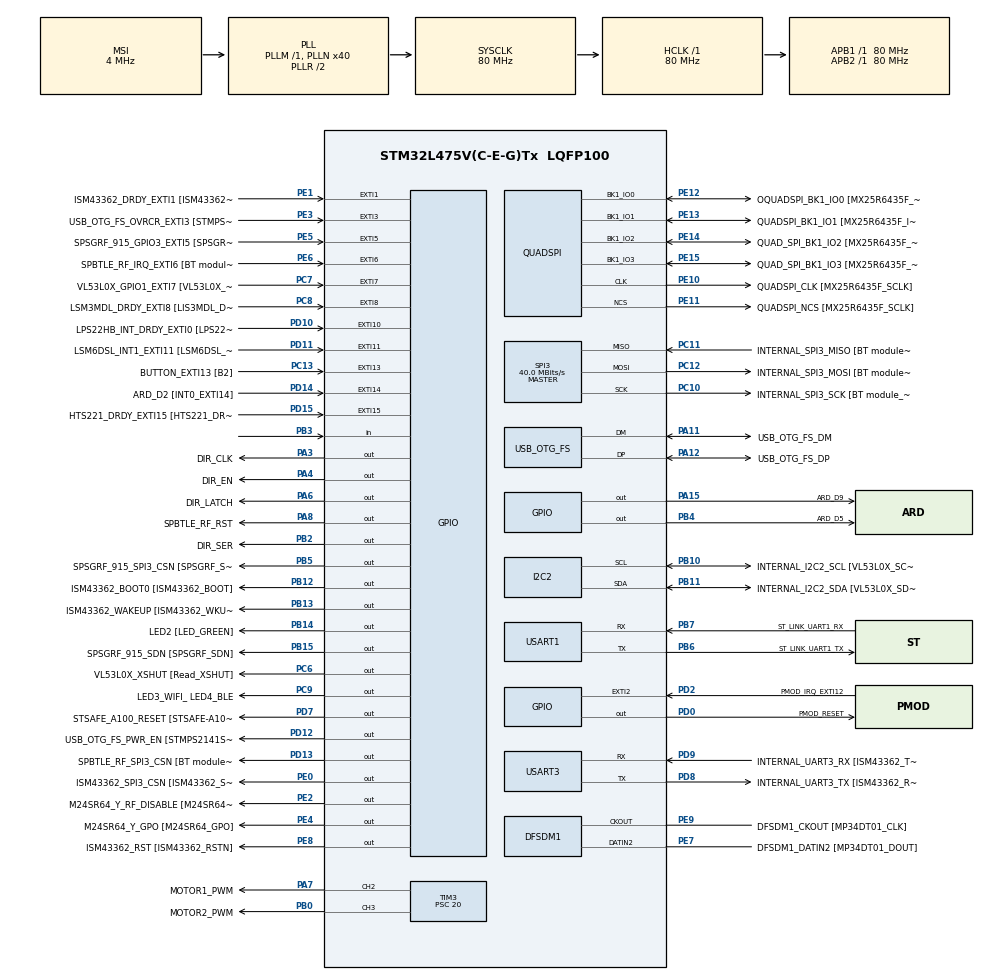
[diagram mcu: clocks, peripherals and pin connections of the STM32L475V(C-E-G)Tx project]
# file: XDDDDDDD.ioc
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FREERTOS.Tasks01=defaultTask,0,128,StartDefaultTask,Default,NULL
Mcu.Family=STM32L4
Mcu.Name=STM32L475V(C-E-G)Tx
Mcu.Package=LQFP100
NVIC.EXTI15_10_IRQn=true\:5\:0\:false\:false\:true\:true\:true
NVIC.EXTI9_5_IRQn=true\:5\:0\:false\:false\:true\:true\:true
NVIC.PriorityGroup=NVIC_PRIORITYGROUP_4
NVIC.TIM1_TRG_COM_TIM17_IRQn=true\:0\:0\:false\:false\:true\:false\:false
NVIC.TimeBase=TIM1_TRG_COM_TIM17_IRQn
NVIC.TimeBaseIP=TIM17
PA0.GPIO_Label=ARD_D1 [UART4_TX]
PA0.Signal=UART4_TX
PA1.GPIO_Label=ARD_D0 [UART4_RX]
PA1.Signal=UART4_RX
PA10.GPIO_Label=USB_OTG_FS_ID
PA10.Signal=USB_OTG_FS_ID
PA11.GPIO_Label=USB_OTG_FS_DM
PA11.Mode=Device_Only
PA11.Signal=USB_OTG_FS_DM
PA12.GPIO_Label=USB_OTG_FS_DP
PA12.Mode=Device_Only
PA12.Signal=USB_OTG_FS_DP
PA13\ (JTMS-SWDIO).GPIO_Label=SYS_JTMS_SWDIO
PA13\ (JTMS-SWDIO).Mode=Serial_Wire
PA13\ (JTMS-SWDIO).Signal=SYS_JTMS-SWDIO
PA14\ (JTCK-SWCLK).GPIO_Label=SYS_JTCK_SWCLK
PA14\ (JTCK-SWCLK).Mode=Serial_Wire
PA14\ (JTCK-SWCLK).Signal=SYS_JTCK-SWCLK
PA15\ (JTDI).GPIO_Label=ARD_D9
PA15\ (JTDI).Signal=GPIO_Output
PA2.Signal=S_TIM2_CH3
PA3.GPIO_Label=DIR_CLK
PA3.Signal=GPIO_Output
PA4.GPIO_Label=DIR_EN
PA4.Signal=GPIO_Output
PA6.GPIO_Label=DIR_LATCH
PA6.Signal=GPIO_Output
PA7.GPIO_Label=MOTOR1_PWM
PA7.Signal=S_TIM3_CH2
PA8.GPIO_Label=SPBTLE_RF_RST
PA8.Signal=GPIO_Output
PA9.GPIO_Label=USB_OTG_FS_VBUS [STMPS2141STR_OUT]
PA9.Signal=USB_OTG_FS_VBUS
PB0.GPIO_Label=MOTOR2_PWM
PB0.Signal=S_TIM3_CH3
PB1.GPIO_Label=ARD_D6 [ADC1_IN6]
PB1.Signal=ADCx_IN16
PB10.GPIO_Label=INTERNAL_I2C2_SCL [VL53L0X_SCL]
PB10.Mode=I2C
PB10.Signal=I2C2_SCL
PB11.GPIO_Label=INTERNAL_I2C2_SDA [VL53L0X_SDA]
PB11.Mode=I2C
PB11.Signal=I2C2_SDA
PB12.GPIO_Label=ISM43362_BOOT0 [ISM43362_BOOT]
PB12.Signal=GPIO_Output
PB13.GPIO_Label=ISM43362_WAKEUP [ISM43362_WKUP]
PB13.Signal=GPIO_Output
PB14.GPIO_Label=LED2 [LED_GREEN]
PB14.Signal=GPIO_Output
PB15.GPIO_Label=SPSGRF_915_SDN [SPSGRF_SDN]
PB15.Signal=GPIO_Output
PB2.GPIO_Label=DIR_SER
PB2.Signal=GPIO_Output
PB3\ (JTDO-TRACESWO).Signal=GPIO_Input
PB4\ (NJTRST).GPIO_Label=ARD_D5
PB4\ (NJTRST).Signal=GPIO_Output
PB5.GPIO_Label=SPSGRF_915_SPI3_CSN [SPSGRF_SPI_CS]
PB5.Signal=GPIO_Output
PB6.GPIO_Label=ST_LINK_UART1_TX
PB6.Mode=Asynchronous
PB6.Signal=USART1_TX
PB7.GPIO_Label=ST_LINK_UART1_RX
PB7.Mode=Asynchronous
PB7.Signal=USART1_RX
PB8.GPIO_Label=ARD_D15 [I2C1_SCL]
PB8.Signal=I2C1_SCL
PB9.GPIO_Label=ARD_D14 [I2C1_SDA]
PB9.Signal=I2C1_SDA
PC0.GPIO_Label=ARD_A5 [ADC]
PC0.Signal=ADCx_IN1
PC1.GPIO_Label=ARD_A4 [ADC]
PC1.Signal=ADCx_IN2
PC10.GPIO_Label=INTERNAL_SPI3_SCK [BT module_SPI_SCLK]
PC10.Mode=Full_Duplex_Master
PC10.Signal=SPI3_SCK
PC11.GPIO_Label=INTERNAL_SPI3_MISO [BT module_SPI_MISO]
PC11.Mode=Full_Duplex_Master
PC11.Signal=SPI3_MISO
PC12.GPIO_Label=INTERNAL_SPI3_MOSI [BT module_SPI_MOSI]
PC12.Mode=Full_Duplex_Master
PC12.Signal=SPI3_MOSI
PC13.GPIO_Label=BUTTON_EXTI13 [B2]
PC13.GPIO_ModeDefaultEXTI=GPIO_MODE_IT_FALLING
PC13.Signal=GPXTI13
PC14-OSC32_IN\ (PC14).Mode=LSE-External-Oscillator
PC14-OSC32_IN\ (PC14).Signal=RCC_OSC32_IN
PC15-OSC32_OUT\ (PC15).Mode=LSE-External-Oscillator
PC15-OSC32_OUT\ (PC15).Signal=RCC_OSC32_OUT
PC2.GPIO_Label=ARD_A3 [ADC]
PC2.Signal=ADCx_IN3
PC3.GPIO_Label=ARD_A2 [ADC]
PC3.Signal=ADCx_IN4
PC4.GPIO_Label=ARD_A1 [ADC]
PC4.Signal=ADCx_IN13
PC5.GPIO_Label=ARD_A0 [ADC]
PC5.Signal=ADCx_IN14
PC6.GPIO_Label=VL53L0X_XSHUT [Read_XSHUT]
PC6.Signal=GPIO_Output
PC7.GPIO_Label=VL53L0X_GPIO1_EXTI7 [VL53L0X_GPIO1]
PC7.Signal=GPXTI7
PC8.GPIO_Label=LSM3MDL_DRDY_EXTI8 [LIS3MDL_DRDY]
PC8.Signal=GPXTI8
PC9.GPIO_Label=LED3_WIFI_ LED4_BLE
PC9.Signal=GPIO_Output
PD0.GPIO_Label=PMOD_RESET
PD0.Signal=GPIO_Output
PD1.GPIO_Label=PMOD_SPI2_SCK
PD1.Signal=SPI2_SCK
PD10.GPIO_Label=LPS22HB_INT_DRDY_EXTI0 [LPS22HB_INT_DRDY] 
PD10.Signal=GPXTI10
PD11.GPIO_Label=LSM6DSL_INT1_EXTI11 [LSM6DSL_INT1]
PD11.Signal=GPXTI11
PD12.GPIO_Label=USB_OTG_FS_PWR_EN [STMPS2141STR_EN]
PD12.Signal=GPIO_Output
PD13.GPIO_Label=SPBTLE_RF_SPI3_CSN [BT module_SPI_CS]
PD13.Signal=GPIO_Output
PD14.GPIO_Label=ARD_D2 [INT0_EXTI14]
PD14.Signal=GPXTI14
PD15.GPIO_Label=HTS221_DRDY_EXTI15 [HTS221_DRDY]
PD15.Signal=GPXTI15
PD2.GPIO_Label=PMOD_IRQ_EXTI12
PD2.Signal=GPXTI2
PD3.GPIO_Label=PMOD_UART2_CTS
PD3.Signal=USART2_CTS
PD4.GPIO_Label=PMOD_UART2_RTS
PD4.Signal=USART2_RTS
PD5.GPIO_Label=PMOD_UART2_TX
PD5.Signal=USART2_TX
PD6.GPIO_Label=PMOD_UART2_RX
PD6.Signal=USART2_RX
PD7.GPIO_Label=STSAFE_A100_RESET [STSAFE-A100_RESET]
PD7.Signal=GPIO_Output
PD8.GPIO_Label=INTERNAL_UART3_TX [ISM43362_RX]
PD8.Mode=Asynchronous
PD8.Signal=USART3_TX
PD9.GPIO_Label=INTERNAL_UART3_RX [ISM43362_TX]
PD9.Mode=Asynchronous
PD9.Signal=USART3_RX
PE0.GPIO_Label=ISM43362_SPI3_CSN [ISM43362_SSN]
PE0.Signal=GPIO_Output
PE1.GPIO_Label=ISM43362_DRDY_EXTI1 [ISM43362_DATARDY]
PE1.Signal=GPXTI1
PE10.GPIO_Label=QUADSPI_CLK [MX25R6435F_SCLK]
PE10.Mode=Single Bank
PE10.Signal=QUADSPI_CLK
PE11.GPIO_Label=QUADSPI_NCS [MX25R6435F_SCLK]
PE11.Mode=Single Bank
PE11.Signal=QUADSPI_NCS
PE12.GPIO_Label=OQUADSPI_BK1_IO0 [MX25R6435F_IO0]
PE12.Mode=Single Bank
PE12.Signal=QUADSPI_BK1_IO0
PE13.GPIO_Label=QUADSPI_BK1_IO1 [MX25R6435F_IO1]
PE13.Mode=Single Bank
PE13.Signal=QUADSPI_BK1_IO1
PE14.GPIO_Label=QUAD_SPI_BK1_IO2 [MX25R6435F_IO2]
PE14.Mode=Single Bank
PE14.Signal=QUADSPI_BK1_IO2
PE15.GPIO_Label=QUAD_SPI_BK1_IO3 [MX25R6435F_IO3]
PE15.Mode=Single Bank
PE15.Signal=QUADSPI_BK1_IO3
PE2.GPIO_Label=M24SR64_Y_RF_DISABLE [M24SR64_RFDIS]
PE2.Signal=GPIO_Output
PE3.GPIO_Label=USB_OTG_FS_OVRCR_EXTI3 [STMPS2141STR_FAULT]
PE3.Signal=GPXTI3
PE4.GPIO_Label=M24SR64_Y_GPO [M24SR64_GPO]
PE4.Signal=GPIO_Output
PE5.GPIO_Label=SPSGRF_915_GPIO3_EXTI5 [SPSGRF_GPIO_3]
PE5.Signal=GPXTI5
PE6.GPIO_Label=SPBTLE_RF_IRQ_EXTI6 [BT module_SPI_IRQ]
PE6.Signal=GPXTI6
PE7.GPIO_Label=DFSDM1_DATIN2 [MP34DT01_DOUT]
PE7.Signal=S_DATAIN2DFSDM1
PE8.GPIO_Label=ISM43362_RST [ISM43362_RSTN]
PE8.Signal=GPIO_Output
PE9.GPIO_Label=DFSDM1_CKOUT [MP34DT01_CLK]
PE9.Signal=S_CKOUTDFSDM1
ProjectManager.HeapSize=0x200
ProjectManager.StackSize=0x400
ProjectManager.TargetToolchain=TrueSTUDIO
RCC.ADCFreq_Value=48000000
RCC.AHBFreq_Value=80000000
RCC.APB1Freq_Value=80000000
RCC.APB1TimFreq_Value=80000000
RCC.APB2Freq_Value=80000000
RCC.APB2TimFreq_Value=80000000
RCC.CortexFreq_Value=80000000
RCC.HCLKFreq_Value=80000000
RCC.HSE_VALUE=8000000
RCC.HSI_VALUE=16000000
RCC.MSI_VALUE=4000000
RCC.PLLN=40
RCC.PLLSAI1N=24
RCC.SYSCLKFreq_VALUE=80000000
RCC.SYSCLKSource=RCC_SYSCLKSOURCE_PLLCLK
RCC.USBFreq_Value=48000000
RCC.VCOOutputFreq_Value=160000000
SH.ADCx_IN1.0=ADC1_IN1
SH.ADCx_IN13.0=ADC1_IN13
SH.ADCx_IN14.0=ADC1_IN14
SH.ADCx_IN16.0=ADC1_IN16
SH.ADCx_IN2.0=ADC1_IN2
SH.ADCx_IN3.0=ADC1_IN3
SH.ADCx_IN4.0=ADC1_IN4
SH.S_CKOUTDFSDM1.0=DFSDM1_CKOUT,CKOUT
SH.S_CKOUTDFSDM1.1=DFSDM1_CKOUT,PDM_SPI_Input_from_ch12_and_Internal_Clock
SH.S_DATAIN2DFSDM1.0=DFSDM1_DATIN2,PDM_SPI_Input_from_ch12_and_Internal_Clock
SH.S_TIM2_CH3.0=TIM2_CH3
SH.S_TIM3_CH2.0=TIM3_CH2,PWM Generation2 CH2
SH.S_TIM3_CH3.0=TIM3_CH3,PWM Generation3 CH3
SPI3.CalculateBaudRate=40.0 MBits/s
SPI3.Direction=SPI_DIRECTION_2LINES
SPI3.Mode=SPI_MODE_MASTER
SPI3.VirtualType=VM_MASTER
TIM3.Channel-PWM\ Generation2\ CH2=TIM_CHANNEL_2
TIM3.Channel-PWM\ Generation3\ CH3=TIM_CHANNEL_3
TIM3.OCMode_PWM-PWM\ Generation3\ CH3=TIM_OCMODE_PWM2
TIM3.Period=0x100
TIM3.Prescaler=20
TIM3.Pulse-PWM\ Generation2\ CH2=0x20
TIM3.Pulse-PWM\ Generation3\ CH3=0x20
USART1.VirtualMode-Asynchronous=VM_ASYNC
USART3.VirtualMode-Asynchronous=VM_ASYNC
USB_OTG_FS.VirtualMode=Device_Only
VP_FREERTOS_VS_ENABLE.Mode=Enabled
VP_SYS_VS_tim17.Mode=TIM17
board=B-L475E-IOT01A

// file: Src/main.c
/**
  ******************************************************************************
  * @file           : main.c
  * @brief          : Main program body
  ******************************************************************************
  * This notice applies to any and all portions of this file
  * that are not between comment pairs USER CODE BEGIN and
  * USER CODE END. Other portions of this file, whether
  * inserted by the user or by software development tools
  * are owned by their respective copyright owners.
  *
  * Copyright (c) 2018 STMicroelectronics International N.V.
  * All rights reserved.
  *
  * Redistribution and use in source and binary forms, with or without
  * modification, are permitted, provided that the following conditions are met:
  *
  * 1. Redistribution of source code must retain the above copyright notice,
  *    this list of conditions and the following disclaimer.
  * 2. Redistributions in binary form must reproduce the above copyright notice,
  *    this list of conditions and the following disclaimer in the documentation
  *    and/or other materials provided with the distribution.
  * 3. Neither the name of STMicroelectronics nor the names of other
  *    contributors to this software may be used to endorse or promote products
  *    derived from this software without specific written permission.
  * 4. This software, including modifications and/or derivative works of this
  *    software, must execute solely and exclusively on microcontroller or
  *    microprocessor devices manufactured by or for STMicroelectronics.
  * 5. Redistribution and use of this software other than as permitted under
  *    this license is void and will automatically terminate your rights under
  *    this license.
  *
  * THIS SOFTWARE IS PROVIDED BY STMICROELECTRONICS AND CONTRIBUTORS "AS IS"
  * AND ANY EXPRESS, IMPLIED OR STATUTORY WARRANTIES, INCLUDING, BUT NOT
  * LIMITED TO, THE IMPLIED WARRANTIES OF MERCHANTABILITY, FITNESS FOR A
  * PARTICULAR PURPOSE AND NON-INFRINGEMENT OF THIRD PARTY INTELLECTUAL PROPERTY
  * RIGHTS ARE DISCLAIMED TO THE FULLEST EXTENT PERMITTED BY LAW. IN NO EVENT
  * SHALL STMICROELECTRONICS OR CONTRIBUTORS BE LIABLE FOR ANY DIRECT, INDIRECT,
  * INCIDENTAL, SPECIAL, EXEMPLARY, OR CONSEQUENTIAL DAMAGES (INCLUDING, BUT NOT
  * LIMITED TO, PROCUREMENT OF SUBSTITUTE GOODS OR SERVICES; LOSS OF USE, DATA,
  * OR PROFITS; OR BUSINESS INTERRUPTION) HOWEVER CAUSED AND ON ANY THEORY OF
  * LIABILITY, WHETHER IN CONTRACT, STRICT LIABILITY, OR TORT (INCLUDING
  * NEGLIGENCE OR OTHERWISE) ARISING IN ANY WAY OUT OF THE USE OF THIS SOFTWARE,
  * EVEN IF ADVISED OF THE POSSIBILITY OF SUCH DAMAGE.
  *
  ******************************************************************************
  */
#include "main.h"
#include "stm32l4xx_hal.h"
#include "cmsis_os.h"

/* USER CODE BEGIN Includes */
#include "stm32l4xx_hal_gpio.h"
#include "wifi.h"
/* USER CODE END Includes */

DFSDM_Channel_HandleTypeDef hdfsdm1_channel1;

I2C_HandleTypeDef hi2c2;

QSPI_HandleTypeDef hqspi;

SPI_HandleTypeDef hspi3;

TIM_HandleTypeDef htim3;

UART_HandleTypeDef huart1;
UART_HandleTypeDef huart3;

PCD_HandleTypeDef hpcd_USB_OTG_FS;

osThreadId defaultTaskHandle;

/* USER CODE BEGIN PV */
/* Private variables ---------------------------------------------------------*/
int motor1_speed = 0x00;
int motor2_speed = 0x00;
/* USER CODE END PV */

void SystemClock_Config(void);
static void MX_GPIO_Init(void);
static void MX_DFSDM1_Init(void);
static void MX_I2C2_Init(void);
static void MX_QUADSPI_Init(void);
static void MX_SPI3_Init(void);
static void MX_USART1_UART_Init(void);
static void MX_USART3_UART_Init(void);
static void MX_USB_OTG_FS_PCD_Init(void);
static void MX_TIM3_Init(void);
void StartDefaultTask(void const * argument);

void HAL_TIM_MspPostInit(TIM_HandleTypeDef *htim);

/* USER CODE BEGIN PFP */
/* Private function prototypes -----------------------------------------------*/

/* USER CODE END PFP */

int main(void)
{

  /* MCU Configuration----------------------------------------------------------*/

  /* Reset of all peripherals, Initializes the Flash interface and the Systick. */
  HAL_Init();

  /* Configure the system clock */
  SystemClock_Config();

  /* Initialize all configured peripherals */
  MX_GPIO_Init();
  MX_DFSDM1_Init();
  MX_I2C2_Init();
  MX_QUADSPI_Init();
  MX_SPI3_Init();
  MX_USART1_UART_Init();
  MX_USART3_UART_Init();
  MX_USB_OTG_FS_PCD_Init();
  MX_TIM3_Init();

  /* Create the thread(s) */
  /* definition and creation of defaultTask */
  osThreadDef(defaultTask, StartDefaultTask, osPriorityNormal, 0, 128);
  defaultTaskHandle = osThreadCreate(osThread(defaultTask), NULL);

  /* Start scheduler */
  osKernelStart();

  /* We should never get here as control is now taken by the scheduler */

  /* Infinite loop */
  while (1)
  {

  /* USER CODE BEGIN 3 */
	  //NIE WPISUJ TU NIC BO NIE DZIA£A
	  //ID� DO DEFAULT TASKA
  }
  /* USER CODE END 3 */

}

void SystemClock_Config(void)
{

  RCC_OscInitTypeDef RCC_OscInitStruct;
  RCC_ClkInitTypeDef RCC_ClkInitStruct;
  RCC_PeriphCLKInitTypeDef PeriphClkInit;

    /**Configure LSE Drive Capability
    */
  HAL_PWR_EnableBkUpAccess();

  __HAL_RCC_LSEDRIVE_CONFIG(RCC_LSEDRIVE_LOW);

    /**Initializes the CPU, AHB and APB busses clocks
    */
  RCC_OscInitStruct.OscillatorType = RCC_OSCILLATORTYPE_LSE|RCC_OSCILLATORTYPE_MSI;
  RCC_OscInitStruct.LSEState = RCC_LSE_ON;
  RCC_OscInitStruct.MSIState = RCC_MSI_ON;
  RCC_OscInitStruct.MSICalibrationValue = 0;
  RCC_OscInitStruct.MSIClockRange = RCC_MSIRANGE_6;
  RCC_OscInitStruct.PLL.PLLState = RCC_PLL_ON;
  RCC_OscInitStruct.PLL.PLLSource = RCC_PLLSOURCE_MSI;
  RCC_OscInitStruct.PLL.PLLM = 1;
  RCC_OscInitStruct.PLL.PLLN = 40;
  RCC_OscInitStruct.PLL.PLLP = RCC_PLLP_DIV7;
  RCC_OscInitStruct.PLL.PLLQ = RCC_PLLQ_DIV2;
  RCC_OscInitStruct.PLL.PLLR = RCC_PLLR_DIV2;
  if (HAL_RCC_OscConfig(&RCC_OscInitStruct) != HAL_OK)
  {
    _Error_Handler(__FILE__, __LINE__);
  }

    /**Initializes the CPU, AHB and APB busses clocks
    */
  RCC_ClkInitStruct.ClockType = RCC_CLOCKTYPE_HCLK|RCC_CLOCKTYPE_SYSCLK
                              |RCC_CLOCKTYPE_PCLK1|RCC_CLOCKTYPE_PCLK2;
  RCC_ClkInitStruct.SYSCLKSource = RCC_SYSCLKSOURCE_PLLCLK;
  RCC_ClkInitStruct.AHBCLKDivider = RCC_SYSCLK_DIV1;
  RCC_ClkInitStruct.APB1CLKDivider = RCC_HCLK_DIV1;
  RCC_ClkInitStruct.APB2CLKDivider = RCC_HCLK_DIV1;

  if (HAL_RCC_ClockConfig(&RCC_ClkInitStruct, FLASH_LATENCY_4) != HAL_OK)
  {
    _Error_Handler(__FILE__, __LINE__);
  }

  PeriphClkInit.PeriphClockSelection = RCC_PERIPHCLK_USART1|RCC_PERIPHCLK_USART3
                              |RCC_PERIPHCLK_I2C2|RCC_PERIPHCLK_DFSDM1
                              |RCC_PERIPHCLK_USB;
  PeriphClkInit.Usart1ClockSelection = RCC_USART1CLKSOURCE_PCLK2;
  PeriphClkInit.Usart3ClockSelection = RCC_USART3CLKSOURCE_PCLK1;
  PeriphClkInit.I2c2ClockSelection = RCC_I2C2CLKSOURCE_PCLK1;
  PeriphClkInit.Dfsdm1ClockSelection = RCC_DFSDM1CLKSOURCE_PCLK;
  PeriphClkInit.UsbClockSelection = RCC_USBCLKSOURCE_PLLSAI1;
  PeriphClkInit.PLLSAI1.PLLSAI1Source = RCC_PLLSOURCE_MSI;
  PeriphClkInit.PLLSAI1.PLLSAI1M = 1;
  PeriphClkInit.PLLSAI1.PLLSAI1N = 24;
  PeriphClkInit.PLLSAI1.PLLSAI1P = RCC_PLLP_DIV7;
  PeriphClkInit.PLLSAI1.PLLSAI1Q = RCC_PLLQ_DIV2;
  PeriphClkInit.PLLSAI1.PLLSAI1R = RCC_PLLR_DIV2;
  PeriphClkInit.PLLSAI1.PLLSAI1ClockOut = RCC_PLLSAI1_48M2CLK;
  if (HAL_RCCEx_PeriphCLKConfig(&PeriphClkInit) != HAL_OK)
  {
    _Error_Handler(__FILE__, __LINE__);
  }

    /**Configure the main internal regulator output voltage
    */
  if (HAL_PWREx_ControlVoltageScaling(PWR_REGULATOR_VOLTAGE_SCALE1) != HAL_OK)
  {
    _Error_Handler(__FILE__, __LINE__);
  }

    /**Configure the Systick interrupt time
    */
  HAL_SYSTICK_Config(HAL_RCC_GetHCLKFreq()/1000);

    /**Configure the Systick
    */
  HAL_SYSTICK_CLKSourceConfig(SYSTICK_CLKSOURCE_HCLK);

    /**Enable MSI Auto calibration
    */
  HAL_RCCEx_EnableMSIPLLMode();

  /* SysTick_IRQn interrupt configuration */
  HAL_NVIC_SetPriority(SysTick_IRQn, 15, 0);
}

/* DFSDM1 init function */
static void MX_DFSDM1_Init(void)
{

  hdfsdm1_channel1.Instance = DFSDM1_Channel1;
  hdfsdm1_channel1.Init.OutputClock.Activation = ENABLE;
  hdfsdm1_channel1.Init.OutputClock.Selection = DFSDM_CHANNEL_OUTPUT_CLOCK_SYSTEM;
  hdfsdm1_channel1.Init.OutputClock.Divider = 2;
  hdfsdm1_channel1.Init.Input.Multiplexer = DFSDM_CHANNEL_EXTERNAL_INPUTS;
  hdfsdm1_channel1.Init.Input.DataPacking = DFSDM_CHANNEL_STANDARD_MODE;
  hdfsdm1_channel1.Init.Input.Pins = DFSDM_CHANNEL_FOLLOWING_CHANNEL_PINS;
  hdfsdm1_channel1.Init.SerialInterface.Type = DFSDM_CHANNEL_SPI_RISING;
  hdfsdm1_channel1.Init.SerialInterface.SpiClock = DFSDM_CHANNEL_SPI_CLOCK_INTERNAL;
  hdfsdm1_channel1.Init.Awd.FilterOrder = DFSDM_CHANNEL_FASTSINC_ORDER;
  hdfsdm1_channel1.Init.Awd.Oversampling = 1;
  hdfsdm1_channel1.Init.Offset = 0;
  hdfsdm1_channel1.Init.RightBitShift = 0x00;
  if (HAL_DFSDM_ChannelInit(&hdfsdm1_channel1) != HAL_OK)
  {
    _Error_Handler(__FILE__, __LINE__);
  }

}

/* I2C2 init function */
static void MX_I2C2_Init(void)
{

  hi2c2.Instance = I2C2;
  hi2c2.Init.Timing = 0x10909CEC;
  hi2c2.Init.OwnAddress1 = 0;
  hi2c2.Init.AddressingMode = I2C_ADDRESSINGMODE_7BIT;
  hi2c2.Init.DualAddressMode = I2C_DUALADDRESS_DISABLE;
  hi2c2.Init.OwnAddress2 = 0;
  hi2c2.Init.OwnAddress2Masks = I2C_OA2_NOMASK;
  hi2c2.Init.GeneralCallMode = I2C_GENERALCALL_DISABLE;
  hi2c2.Init.NoStretchMode = I2C_NOSTRETCH_DISABLE;
  if (HAL_I2C_Init(&hi2c2) != HAL_OK)
  {
    _Error_Handler(__FILE__, __LINE__);
  }

    /**Configure Analogue filter
    */
  if (HAL_I2CEx_ConfigAnalogFilter(&hi2c2, I2C_ANALOGFILTER_ENABLE) != HAL_OK)
  {
    _Error_Handler(__FILE__, __LINE__);
  }

    /**Configure Digital filter
    */
  if (HAL_I2CEx_ConfigDigitalFilter(&hi2c2, 0) != HAL_OK)
  {
    _Error_Handler(__FILE__, __LINE__);
  }

}

/* QUADSPI init function */
static void MX_QUADSPI_Init(void)
{

  /* QUADSPI parameter configuration*/
  hqspi.Instance = QUADSPI;
  hqspi.Init.ClockPrescaler = 255;
  hqspi.Init.FifoThreshold = 1;
  hqspi.Init.SampleShifting = QSPI_SAMPLE_SHIFTING_NONE;
  hqspi.Init.FlashSize = 1;
  hqspi.Init.ChipSelectHighTime = QSPI_CS_HIGH_TIME_1_CYCLE;
  hqspi.Init.ClockMode = QSPI_CLOCK_MODE_0;
  if (HAL_QSPI_Init(&hqspi) != HAL_OK)
  {
    _Error_Handler(__FILE__, __LINE__);
  }

}

/* SPI3 init function */
static void MX_SPI3_Init(void)
{

  /* SPI3 parameter configuration*/
  hspi3.Instance = SPI3;
  hspi3.Init.Mode = SPI_MODE_MASTER;
  hspi3.Init.Direction = SPI_DIRECTION_2LINES;
  hspi3.Init.DataSize = SPI_DATASIZE_4BIT;
  hspi3.Init.CLKPolarity = SPI_POLARITY_LOW;
  hspi3.Init.CLKPhase = SPI_PHASE_1EDGE;
  hspi3.Init.NSS = SPI_NSS_SOFT;
  hspi3.Init.BaudRatePrescaler = SPI_BAUDRATEPRESCALER_2;
  hspi3.Init.FirstBit = SPI_FIRSTBIT_MSB;
  hspi3.Init.TIMode = SPI_TIMODE_DISABLE;
  hspi3.Init.CRCCalculation = SPI_CRCCALCULATION_DISABLE;
  hspi3.Init.CRCPolynomial = 7;
  hspi3.Init.CRCLength = SPI_CRC_LENGTH_DATASIZE;
  hspi3.Init.NSSPMode = SPI_NSS_PULSE_ENABLE;
  if (HAL_SPI_Init(&hspi3) != HAL_OK)
  {
    _Error_Handler(__FILE__, __LINE__);
  }

}

/* TIM3 init function */
static void MX_TIM3_Init(void)
{

  TIM_MasterConfigTypeDef sMasterConfig;
  TIM_OC_InitTypeDef sConfigOC;

  htim3.Instance = TIM3;
  htim3.Init.Prescaler = 20;
  htim3.Init.CounterMode = TIM_COUNTERMODE_UP;
  htim3.Init.Period = 0x100;
  htim3.Init.ClockDivision = TIM_CLOCKDIVISION_DIV1;
  htim3.Init.AutoReloadPreload = TIM_AUTORELOAD_PRELOAD_DISABLE;
  if (HAL_TIM_PWM_Init(&htim3) != HAL_OK)
  {
    _Error_Handler(__FILE__, __LINE__);
  }

  sMasterConfig.MasterOutputTrigger = TIM_TRGO_RESET;
  sMasterConfig.MasterSlaveMode = TIM_MASTERSLAVEMODE_DISABLE;
  if (HAL_TIMEx_MasterConfigSynchronization(&htim3, &sMasterConfig) != HAL_OK)
  {
    _Error_Handler(__FILE__, __LINE__);
  }

  sConfigOC.OCMode = TIM_OCMODE_PWM1;
  sConfigOC.Pulse = 0x00;
  sConfigOC.OCPolarity = TIM_OCPOLARITY_HIGH;
  sConfigOC.OCFastMode = TIM_OCFAST_DISABLE;
  if (HAL_TIM_PWM_ConfigChannel(&htim3, &sConfigOC, TIM_CHANNEL_2) != HAL_OK)
  {
    _Error_Handler(__FILE__, __LINE__);
  }

  if (HAL_TIM_PWM_ConfigChannel(&htim3, &sConfigOC, TIM_CHANNEL_3) != HAL_OK)
  {
    _Error_Handler(__FILE__, __LINE__);
  }

  HAL_TIM_MspPostInit(&htim3);

}

/* USART1 init function */
static void MX_USART1_UART_Init(void)
{

  huart1.Instance = USART1;
  huart1.Init.BaudRate = 115200;
  huart1.Init.WordLength = UART_WORDLENGTH_8B;
  huart1.Init.StopBits = UART_STOPBITS_1;
  huart1.Init.Parity = UART_PARITY_NONE;
  huart1.Init.Mode = UART_MODE_TX_RX;
  huart1.Init.HwFlowCtl = UART_HWCONTROL_NONE;
  huart1.Init.OverSampling = UART_OVERSAMPLING_16;
  huart1.Init.OneBitSampling = UART_ONE_BIT_SAMPLE_DISABLE;
  huart1.AdvancedInit.AdvFeatureInit = UART_ADVFEATURE_NO_INIT;
  if (HAL_UART_Init(&huart1) != HAL_OK)
  {
    _Error_Handler(__FILE__, __LINE__);
  }

}

/* USART3 init function */
static void MX_USART3_UART_Init(void)
{

  huart3.Instance = USART3;
  huart3.Init.BaudRate = 115200;
  huart3.Init.WordLength = UART_WORDLENGTH_8B;
  huart3.Init.StopBits = UART_STOPBITS_1;
  huart3.Init.Parity = UART_PARITY_NONE;
  huart3.Init.Mode = UART_MODE_TX_RX;
  huart3.Init.HwFlowCtl = UART_HWCONTROL_NONE;
  huart3.Init.OverSampling = UART_OVERSAMPLING_16;
  huart3.Init.OneBitSampling = UART_ONE_BIT_SAMPLE_DISABLE;
  huart3.AdvancedInit.AdvFeatureInit = UART_ADVFEATURE_NO_INIT;
  if (HAL_UART_Init(&huart3) != HAL_OK)
  {
    _Error_Handler(__FILE__, __LINE__);
  }

}

/* USB_OTG_FS init function */
static void MX_USB_OTG_FS_PCD_Init(void)
{

  hpcd_USB_OTG_FS.Instance = USB_OTG_FS;
  hpcd_USB_OTG_FS.Init.dev_endpoints = 6;
  hpcd_USB_OTG_FS.Init.speed = PCD_SPEED_FULL;
  hpcd_USB_OTG_FS.Init.ep0_mps = DEP0CTL_MPS_64;
  hpcd_USB_OTG_FS.Init.phy_itface = PCD_PHY_EMBEDDED;
  hpcd_USB_OTG_FS.Init.Sof_enable = DISABLE;
  hpcd_USB_OTG_FS.Init.low_power_enable = DISABLE;
  hpcd_USB_OTG_FS.Init.lpm_enable = DISABLE;
  hpcd_USB_OTG_FS.Init.battery_charging_enable = DISABLE;
  hpcd_USB_OTG_FS.Init.use_dedicated_ep1 = DISABLE;
  hpcd_USB_OTG_FS.Init.vbus_sensing_enable = DISABLE;
  if (HAL_PCD_Init(&hpcd_USB_OTG_FS) != HAL_OK)
  {
    _Error_Handler(__FILE__, __LINE__);
  }

}

/** Configure pins as
        * Analog
        * Input
        * Output
        * EVENT_OUT
        * EXTI
     PC0   ------> ADCx_IN1
     PC1   ------> ADCx_IN2
     PC2   ------> ADCx_IN3
     PC3   ------> ADCx_IN4
     PA0   ------> UART4_TX
     PA1   ------> UART4_RX
     PA2   ------> S_TIM2_CH3
     PC4   ------> ADCx_IN13
     PC5   ------> ADCx_IN14
     PB1   ------> ADCx_IN16
     PD1   ------> SPI2_SCK
     PD3   ------> USART2_CTS
     PD4   ------> USART2_RTS
     PD5   ------> USART2_TX
     PD6   ------> USART2_RX
     PB8   ------> I2C1_SCL
     PB9   ------> I2C1_SDA
*/
static void MX_GPIO_Init(void)
{

  GPIO_InitTypeDef GPIO_InitStruct;

  /* GPIO Ports Clock Enable */
  __HAL_RCC_GPIOE_CLK_ENABLE();
  __HAL_RCC_GPIOC_CLK_ENABLE();
  __HAL_RCC_GPIOA_CLK_ENABLE();
  __HAL_RCC_GPIOB_CLK_ENABLE();
  __HAL_RCC_GPIOD_CLK_ENABLE();

  /*Configure GPIO pin Output Level */
  HAL_GPIO_WritePin(GPIOE, M24SR64_Y_RF_DISABLE_Pin|M24SR64_Y_GPO_Pin|ISM43362_RST_Pin|ISM43362_SPI3_CSN_Pin, GPIO_PIN_RESET);

  /*Configure GPIO pin Output Level */
  HAL_GPIO_WritePin(GPIOA, DIR_CLK_Pin|DIR_EN_Pin|DIR_LATCH_Pin|SPBTLE_RF_RST_Pin
                          |ARD_D9_Pin, GPIO_PIN_RESET);

  /*Configure GPIO pin Output Level */
  HAL_GPIO_WritePin(GPIOB, DIR_SER_Pin|ISM43362_BOOT0_Pin|ISM43362_WAKEUP_Pin|LED2_Pin
                          |SPSGRF_915_SDN_Pin|ARD_D5_Pin|SPSGRF_915_SPI3_CSN_Pin, GPIO_PIN_RESET);

  /*Configure GPIO pin Output Level */
  HAL_GPIO_WritePin(GPIOD, USB_OTG_FS_PWR_EN_Pin|SPBTLE_RF_SPI3_CSN_Pin|PMOD_RESET_Pin|STSAFE_A100_RESET_Pin, GPIO_PIN_RESET);

  /*Configure GPIO pin Output Level */
  HAL_GPIO_WritePin(GPIOC, VL53L0X_XSHUT_Pin|LED3_WIFI__LED4_BLE_Pin, GPIO_PIN_RESET);

  /*Configure GPIO pins : M24SR64_Y_RF_DISABLE_Pin M24SR64_Y_GPO_Pin ISM43362_RST_Pin ISM43362_SPI3_CSN_Pin */
  GPIO_InitStruct.Pin = M24SR64_Y_RF_DISABLE_Pin|M24SR64_Y_GPO_Pin|ISM43362_RST_Pin|ISM43362_SPI3_CSN_Pin;
  GPIO_InitStruct.Mode = GPIO_MODE_OUTPUT_PP;
  GPIO_InitStruct.Pull = GPIO_NOPULL;
  GPIO_InitStruct.Speed = GPIO_SPEED_FREQ_LOW;
  HAL_GPIO_Init(GPIOE, &GPIO_InitStruct);

  /*Configure GPIO pins : USB_OTG_FS_OVRCR_EXTI3_Pin SPSGRF_915_GPIO3_EXTI5_Pin SPBTLE_RF_IRQ_EXTI6_Pin ISM43362_DRDY_EXTI1_Pin */
  GPIO_InitStruct.Pin = USB_OTG_FS_OVRCR_EXTI3_Pin|SPSGRF_915_GPIO3_EXTI5_Pin|SPBTLE_RF_IRQ_EXTI6_Pin|ISM43362_DRDY_EXTI1_Pin;
  GPIO_InitStruct.Mode = GPIO_MODE_IT_RISING;
  GPIO_InitStruct.Pull = GPIO_NOPULL;
  HAL_GPIO_Init(GPIOE, &GPIO_InitStruct);

  /*Configure GPIO pin : BUTTON_EXTI13_Pin */
  GPIO_InitStruct.Pin = BUTTON_EXTI13_Pin;
  GPIO_InitStruct.Mode = GPIO_MODE_IT_FALLING;
  GPIO_InitStruct.Pull = GPIO_NOPULL;
  HAL_GPIO_Init(BUTTON_EXTI13_GPIO_Port, &GPIO_InitStruct);

  /*Configure GPIO pins : ARD_A5_Pin ARD_A4_Pin ARD_A3_Pin ARD_A2_Pin
                           ARD_A1_Pin ARD_A0_Pin */
  GPIO_InitStruct.Pin = ARD_A5_Pin|ARD_A4_Pin|ARD_A3_Pin|ARD_A2_Pin
                          |ARD_A1_Pin|ARD_A0_Pin;
  GPIO_InitStruct.Mode = GPIO_MODE_ANALOG_ADC_CONTROL;
  GPIO_InitStruct.Pull = GPIO_NOPULL;
  HAL_GPIO_Init(GPIOC, &GPIO_InitStruct);

  /*Configure GPIO pins : ARD_D1_Pin ARD_D0_Pin */
  GPIO_InitStruct.Pin = ARD_D1_Pin|ARD_D0_Pin;
  GPIO_InitStruct.Mode = GPIO_MODE_AF_PP;
  GPIO_InitStruct.Pull = GPIO_NOPULL;
  GPIO_InitStruct.Speed = GPIO_SPEED_FREQ_VERY_HIGH;
  GPIO_InitStruct.Alternate = GPIO_AF8_UART4;
  HAL_GPIO_Init(GPIOA, &GPIO_InitStruct);

  /*Configure GPIO pin : PA2 */
  GPIO_InitStruct.Pin = GPIO_PIN_2;
  GPIO_InitStruct.Mode = GPIO_MODE_AF_PP;
  GPIO_InitStruct.Pull = GPIO_NOPULL;
  GPIO_InitStruct.Speed = GPIO_SPEED_FREQ_LOW;
  GPIO_InitStruct.Alternate = GPIO_AF1_TIM2;
  HAL_GPIO_Init(GPIOA, &GPIO_InitStruct);

  /*Configure GPIO pins : DIR_CLK_Pin DIR_EN_Pin DIR_LATCH_Pin SPBTLE_RF_RST_Pin
                           ARD_D9_Pin */
  GPIO_InitStruct.Pin = DIR_CLK_Pin|DIR_EN_Pin|DIR_LATCH_Pin|SPBTLE_RF_RST_Pin
                          |ARD_D9_Pin;
  GPIO_InitStruct.Mode = GPIO_MODE_OUTPUT_PP;
  GPIO_InitStruct.Pull = GPIO_NOPULL;
  GPIO_InitStruct.Speed = GPIO_SPEED_FREQ_LOW;
  HAL_GPIO_Init(GPIOA, &GPIO_InitStruct);

  /*Configure GPIO pin : ARD_D6_Pin */
  GPIO_InitStruct.Pin = ARD_D6_Pin;
  GPIO_InitStruct.Mode = GPIO_MODE_ANALOG_ADC_CONTROL;
  GPIO_InitStruct.Pull = GPIO_NOPULL;
  HAL_GPIO_Init(ARD_D6_GPIO_Port, &GPIO_InitStruct);

  /*Configure GPIO pins : DIR_SER_Pin ISM43362_BOOT0_Pin ISM43362_WAKEUP_Pin LED2_Pin
                           SPSGRF_915_SDN_Pin ARD_D5_Pin SPSGRF_915_SPI3_CSN_Pin */
  GPIO_InitStruct.Pin = DIR_SER_Pin|ISM43362_BOOT0_Pin|ISM43362_WAKEUP_Pin|LED2_Pin
                          |SPSGRF_915_SDN_Pin|ARD_D5_Pin|SPSGRF_915_SPI3_CSN_Pin;
  GPIO_InitStruct.Mode = GPIO_MODE_OUTPUT_PP;
  GPIO_InitStruct.Pull = GPIO_NOPULL;
  GPIO_InitStruct.Speed = GPIO_SPEED_FREQ_LOW;
  HAL_GPIO_Init(GPIOB, &GPIO_InitStruct);

  /*Configure GPIO pins : LPS22HB_INT_DRDY_EXTI0_Pin LSM6DSL_INT1_EXTI11_Pin ARD_D2_Pin HTS221_DRDY_EXTI15_Pin
                           PMOD_IRQ_EXTI12_Pin */
  GPIO_InitStruct.Pin = LPS22HB_INT_DRDY_EXTI0_Pin|LSM6DSL_INT1_EXTI11_Pin|ARD_D2_Pin|HTS221_DRDY_EXTI15_Pin
                          |PMOD_IRQ_EXTI12_Pin;
  GPIO_InitStruct.Mode = GPIO_MODE_IT_RISING;
  GPIO_InitStruct.Pull = GPIO_NOPULL;
  HAL_GPIO_Init(GPIOD, &GPIO_InitStruct);

  /*Configure GPIO pins : USB_OTG_FS_PWR_EN_Pin SPBTLE_RF_SPI3_CSN_Pin PMOD_RESET_Pin STSAFE_A100_RESET_Pin */
  GPIO_InitStruct.Pin = USB_OTG_FS_PWR_EN_Pin|SPBTLE_RF_SPI3_CSN_Pin|PMOD_RESET_Pin|STSAFE_A100_RESET_Pin;
  GPIO_InitStruct.Mode = GPIO_MODE_OUTPUT_PP;
  GPIO_InitStruct.Pull = GPIO_NOPULL;
  GPIO_InitStruct.Speed = GPIO_SPEED_FREQ_LOW;
  HAL_GPIO_Init(GPIOD, &GPIO_InitStruct);

  /*Configure GPIO pins : VL53L0X_XSHUT_Pin LED3_WIFI__LED4_BLE_Pin */
  GPIO_InitStruct.Pin = VL53L0X_XSHUT_Pin|LED3_WIFI__LED4_BLE_Pin;
  GPIO_InitStruct.Mode = GPIO_MODE_OUTPUT_PP;
  GPIO_InitStruct.Pull = GPIO_NOPULL;
  GPIO_InitStruct.Speed = GPIO_SPEED_FREQ_LOW;
  HAL_GPIO_Init(GPIOC, &GPIO_InitStruct);

  /*Configure GPIO pins : VL53L0X_GPIO1_EXTI7_Pin LSM3MDL_DRDY_EXTI8_Pin */
  GPIO_InitStruct.Pin = VL53L0X_GPIO1_EXTI7_Pin|LSM3MDL_DRDY_EXTI8_Pin;
  GPIO_InitStruct.Mode = GPIO_MODE_IT_RISING;
  GPIO_InitStruct.Pull = GPIO_NOPULL;
  HAL_GPIO_Init(GPIOC, &GPIO_InitStruct);

  /*Configure GPIO pin : PMOD_SPI2_SCK_Pin */
  GPIO_InitStruct.Pin = PMOD_SPI2_SCK_Pin;
  GPIO_InitStruct.Mode = GPIO_MODE_AF_PP;
  GPIO_InitStruct.Pull = GPIO_NOPULL;
  GPIO_InitStruct.Speed = GPIO_SPEED_FREQ_VERY_HIGH;
  GPIO_InitStruct.Alternate = GPIO_AF5_SPI2;
  HAL_GPIO_Init(PMOD_SPI2_SCK_GPIO_Port, &GPIO_InitStruct);

  /*Configure GPIO pins : PMOD_UART2_CTS_Pin PMOD_UART2_RTS_Pin PMOD_UART2_TX_Pin PMOD_UART2_RX_Pin */
  GPIO_InitStruct.Pin = PMOD_UART2_CTS_Pin|PMOD_UART2_RTS_Pin|PMOD_UART2_TX_Pin|PMOD_UART2_RX_Pin;
  GPIO_InitStruct.Mode = GPIO_MODE_AF_PP;
  GPIO_InitStruct.Pull = GPIO_NOPULL;
  GPIO_InitStruct.Speed = GPIO_SPEED_FREQ_VERY_HIGH;
  GPIO_InitStruct.Alternate = GPIO_AF7_USART2;
  HAL_GPIO_Init(GPIOD, &GPIO_InitStruct);

  /*Configure GPIO pin : PB3 */
  GPIO_InitStruct.Pin = GPIO_PIN_3;
  GPIO_InitStruct.Mode = GPIO_MODE_INPUT;
  GPIO_InitStruct.Pull = GPIO_NOPULL;
  HAL_GPIO_Init(GPIOB, &GPIO_InitStruct);

  /*Configure GPIO pins : ARD_D15_Pin ARD_D14_Pin */
  GPIO_InitStruct.Pin = ARD_D15_Pin|ARD_D14_Pin;
  GPIO_InitStruct.Mode = GPIO_MODE_AF_OD;
  GPIO_InitStruct.Pull = GPIO_PULLUP;
  GPIO_InitStruct.Speed = GPIO_SPEED_FREQ_VERY_HIGH;
  GPIO_InitStruct.Alternate = GPIO_AF4_I2C1;
  HAL_GPIO_Init(GPIOB, &GPIO_InitStruct);

  /* EXTI interrupt init*/
  HAL_NVIC_SetPriority(EXTI9_5_IRQn, 5, 0);
  HAL_NVIC_EnableIRQ(EXTI9_5_IRQn);

  HAL_NVIC_SetPriority(EXTI15_10_IRQn, 5, 0);
  HAL_NVIC_EnableIRQ(EXTI15_10_IRQn);

}

/* USER CODE BEGIN 4 */
void shiftOut(uint8_t value) {
	//https://arduino.stackexchange.com/questions/12285/how-shiftout-function-works-internally-explanation-on-source-code
	for (int i = 7; i >= 0; i--) {
		HAL_GPIO_WritePin(DIR_SER_GPIO_Port, DIR_SER_Pin, (GPIO_PinState)!!(value & (1 << (7 - i))));
		HAL_GPIO_WritePin(DIR_CLK_GPIO_Port, DIR_CLK_Pin, GPIO_PIN_SET);
		HAL_GPIO_WritePin(DIR_CLK_GPIO_Port, DIR_CLK_Pin, GPIO_PIN_RESET);
	}
}

//setIC3 - ustawia odpowiednie wartoœci na rejestrze, odpowiedzialnym za
//podawaniem odpowiednich napiêc powoduj¹cych zmiane kierunku.
void setIC3(int new_register_state) {
	//PB2 - DIR_SER - D8
	//PB3 - DIR_CLK - stan wysoki
	//PA4 - DIR_EN - LOW
	HAL_GPIO_WritePin(DIR_CLK_GPIO_Port, DIR_CLK_Pin, GPIO_PIN_RESET);
	HAL_GPIO_WritePin(DIR_EN_GPIO_Port, DIR_EN_Pin, GPIO_PIN_RESET);
	HAL_GPIO_WritePin(DIR_SER_GPIO_Port, DIR_SER_Pin, GPIO_PIN_SET);
	HAL_GPIO_WritePin(DIR_LATCH_GPIO_Port, DIR_LATCH_Pin, GPIO_PIN_RESET);

//	uint8_t new_register_state = 0;
//	new_register_state = (1 << (7 - output));

	shiftOut(new_register_state);
	osDelay(5);
	HAL_GPIO_WritePin(DIR_LATCH_GPIO_Port, DIR_LATCH_Pin, GPIO_PIN_SET);
	osDelay(5);
	HAL_GPIO_WritePin(DIR_LATCH_GPIO_Port, DIR_LATCH_Pin, GPIO_PIN_RESET);
}

uint8_t createStorageRegisterValue(int t[],  int n) {
    uint8_t value = 0;
    for (int i = 0; i < n; ++i) value = (value | (1 << (7 - t[i])));
    return value;
}

//ustawia prêdkoœæ na PWMie
void setSpeed(int speed, int channel) {
	if (channel == 3) {
		__HAL_TIM_SET_COMPARE(&htim3, TIM_CHANNEL_3, speed);
	} else if (channel == 2) {
		__HAL_TIM_SET_COMPARE(&htim3, TIM_CHANNEL_2, speed);
	}
}

//ustawia odpowiednie parametry na PWMie
void setMotorParameters(int new_register_state, int speed, int channel) {
	setSpeed(speed, channel);
	setIC3(new_register_state);
}

//Wywo³uje setMotorParameters z odpowiednimi parametrami w zale¿noœci od porz¹danego kierunku
void MotorCommand(int fwd_bck, int left_right, int brake, int speed) {
    int motors[2];

//  trzymaj¹c przycisk ruchu pojazdu, stopniowo dodajemy mu prêdkoœci,
//  jeœli puœcimy wywo³uje siê break(pojazd staje)

//    if (prevCommand == command) setSpeed()
    if (brake) {
    	int speed = max(motor1_speed, motor2_speed);
    	for(int i = 0x00; i <= speed; i+=10) {
    		setSpeed(speed-i, TIM_CHANNEL_MOTOR1);
    		setSpeed(speed-i, TIM_CHANNEL_MOTOR2);
    		osDelay(10);
    	}
    	motor1_speed = 0x00;
    	motor2_speed = 0x00;
    	return;
    }

	switch(fwd_bck) {
        case MTBACKWARD:
        	motors[0] = MOTOR1_A;
        	motors[1] = MOTOR2_A;
        	setIC3(createStorageRegisterValue(motors, 2));
            break;
        case MTFORWARD:
        	motors[0] = MOTOR1_B;
        	motors[1] = MOTOR2_B;
        	setIC3(createStorageRegisterValue(motors, 2));
            break;
        default:
            break;
	}

	switch(left_right) {
		case MTLEFT:
			setSpeed(speed, TIM_CHANNEL_MOTOR1);
			motor1_speed = 0xF0;
			setSpeed(speed - 0x20, TIM_CHANNEL_MOTOR2);
			motor2_speed = 0xD0;
			break;
		case MTRIGHT:
			setSpeed(speed - 0x20, TIM_CHANNEL_MOTOR1);
			motor1_speed = 0xD0;
			setSpeed(speed, TIM_CHANNEL_MOTOR2);
			motor2_speed = 0xF0;
			break;
		default:
			setSpeed(speed, TIM_CHANNEL_MOTOR1);
			motor1_speed = 0xF0;
			setSpeed(speed, TIM_CHANNEL_MOTOR2);
			motor2_speed = 0xF0;
			break;
	}
}

#define PRINTF_USES_HAL_TX		1

int __io_putchar(int ch)
{
	uint8_t data = ch;
	#if PRINTF_USES_HAL_TX
		HAL_StatusTypeDef status = HAL_UART_Transmit(&huart1, (uint8_t*)&data, 1, 100);
	#else
		while(__HAL_UART_GET_FLAG(&huart1, UART_FLAG_TXE) == RESET) { ; }
		huart1.Instance->TDR = (uint16_t)data;
	#endif
	return 0;
}

	int _write(int file, char *ptr, int len)
	{
		int DataIdx;

		for (DataIdx = 0; DataIdx < len; DataIdx++)
		{
			__io_putchar(*ptr++);
		}
		return len;
	}
/* USER CODE END 4 */

void StartDefaultTask(void const * argument)
{
	printf("Hello\n");
  /* USER CODE BEGIN 5 */
	uint32_t socket = 0;
	uint8_t buff[10];
	uint16_t datalen;

	HAL_TIM_PWM_Start(&htim3, TIM_CHANNEL_2);
	HAL_TIM_PWM_Start(&htim3, TIM_CHANNEL_3);

	if (WIFI_Init() == WIFI_STATUS_OK) {
		printf("WiFi initialized :)\n");
	} else printf("WiFi not initialized\n");

	const char* MYSSID = "Honor 8X";
	const char* PASSWORD = "12345678";

	if (WIFI_Connect((__uint8_t *)MYSSID, (__uint8_t *)PASSWORD, WIFI_ECN_WPA2_PSK) == WIFI_STATUS_OK) {
		printf("WiFi connection established\n");
	} else printf("Cannot establish WiFi connection\n");

	uint8_t IP_Addr[4];
	if(WIFI_GetIP_Address(IP_Addr) == WIFI_STATUS_OK) {
		printf("IP Address : %d.%d.%d.%d\n",
	               IP_Addr[0],
	               IP_Addr[1],
	               IP_Addr[2],
	               IP_Addr[3]);
	}

	uint8_t ipaddr[4] = {192, 168, 43, 120};
	if (WIFI_OpenClientConnection(socket, WIFI_UDP_PROTOCOL, "ala123", ipaddr, 2137, 0) == WIFI_STATUS_OK) {
		printf("Opened Client Connection\n");
	} else printf("Client connection cannot be opened\n");

	//zainicjalizowano - miganie diody
	for (int i = 0; i < 3; i++) {
		HAL_GPIO_WritePin(LED2_GPIO_Port, LED2_Pin, GPIO_PIN_SET);
		HAL_Delay(50);
		HAL_GPIO_WritePin(LED2_GPIO_Port, LED2_Pin, GPIO_PIN_RESET);
		HAL_Delay(50);
	}

  /* Infinite loop */
//C:\Users\Student\STM32Cube\Repository\STM32Cube_FW_L4_V1.13.0\Projects\B-L475E-IOT01A\Templates
  for(;;)
  {
	  if(WIFI_ReceiveData(socket, buff, sizeof(buff), &datalen, WIFI_READ_TIMEOUT) == WIFI_STATUS_OK) {
		  if (datalen == 6) {
//			  printf("%c - datalen %d\n", (char)buff[1], datalen);
			  int fwd_bck = MTFORWARD, left_right = 0, brake = 0, speed = NORMALSPEED;
			  if ((char)buff[0] == '1') brake = MTBRAKE;
			  else {
				  if ((char)buff[1] == '1') fwd_bck = MTFORWARD;
			  	  else if ((char)buff[2] == '1') fwd_bck = MTBACKWARD;
			  	  if ((char)buff[3] == '1') left_right = MTLEFT;
			  	  else if ((char)buff[4] == '1') left_right = MTRIGHT;
			  	  if ((char)buff[5] == '1') speed = MAXSPEED;
			  }
			  MotorCommand(fwd_bck, left_right, brake, speed);
	  	  }
	  }
//	  else {
//		  if (counter == 10) {
//			  printf("jaisbdgfoaisdjbgogfiausw\n");
//			  MotorCommand(0, 0, 0); //awaryjne hamowanie
//			  if (WIFI_CloseClientConnection(socket) == WIFI_STATUS_OK) printf("Closed Client Connection\n");
//			  if (WIFI_Disconnect() == WIFI_STATUS_OK) printf("Disconnected\n");
//			  if (WIFI_Connect((__uint8_t *)MYSSID, (__uint8_t *)PASSWORD, WIFI_ECN_WPA2_PSK) == WIFI_STATUS_OK) {
//			  	printf("ok\n");
//			  } else printf("nie ok\n");
//			  if (WIFI_OpenClientConnection(socket, WIFI_UDP_PROTOCOL, "ala123", ipaddr, 2137, 0) == WIFI_STATUS_OK) {
//			  	printf("Opened Client Connection\n");
//			  } else printf("Client connection cannot be opened\n");
//		  } else counter++;
//	  }
//	  if (counter_to_ping == 20) {

//		  counter_to_ping = 0;
//		  printf("Pinging...\n");
//		  if (WIFI_Ping(ipaddr, 1, 20) != WIFI_STATUS_OK) {
//			  MotorCommand(0, 0, 0); //awaryjne hamowanie
//			  if (WIFI_CloseClientConnection(socket) == WIFI_STATUS_OK) printf("Closed Client Connection\n");
//			  if (WIFI_Disconnect() == WIFI_STATUS_OK) printf("Disconnected\n");
//			  if (WIFI_Connect((__uint8_t *)MYSSID, (__uint8_t *)PASSWORD, WIFI_ECN_WPA2_PSK) == WIFI_STATUS_OK) {
//			  		printf("ok\n");
//			  } else printf("nie ok\n");
//			  if (WIFI_OpenClientConnection(socket, WIFI_UDP_PROTOCOL, "ala123", ipaddr, 2137, 0) == WIFI_STATUS_OK) {
//			  		printf("Opened Client Connection\n");
//			  } else printf("Client connection cannot be opened\n");
//		  }
//	  }
//	  else counter_to_ping++;

  }
  /* USER CODE END 5 */
}

void HAL_TIM_PeriodElapsedCallback(TIM_HandleTypeDef *htim)
{
  if (htim->Instance == TIM17) {
    HAL_IncTick();
  }
}

void _Error_Handler(char *file, int line)
{
  while(1)
  {
  }
}

/************************ (C) COPYRIGHT STMicroelectronics *****END OF FILE****/
